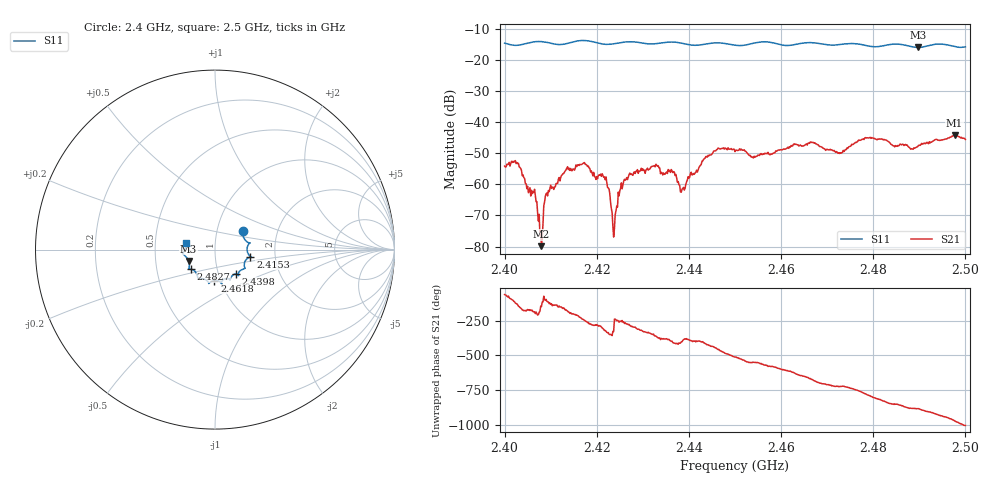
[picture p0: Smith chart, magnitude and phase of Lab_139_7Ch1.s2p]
# Hz S RI R 50
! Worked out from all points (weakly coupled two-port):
!   601 points, 2.4 GHz to 2.5 GHz, reference 50 ohm
!   highest |S21| = -44.10 dB at 2.4977 GHz (marker M1); lowest = -79.9 dB at 2.408 GHz (marker M2)
!   lowest |S11| = -15.9 dB at 2.4897 GHz (marker M3), VSWR 1.38, Z = 36.9 - j4.8 ohm
!   |S11| at or under -10 dB: start of sweep to end of sweep
!   S12 and S22 are empty: the file has one direction only
!   S11 on the Smith chart (normalised r, x): 2.4 GHz: 1.33, +0.29; 2.4153 GHz: 1.48, -0.12; 2.4398 GHz: 1.21, -0.34; 2.4618 GHz: 0.94, -0.33; 2.4827 GHz: 0.75, -0.17; 2.5 GHz: 0.72, +0.06
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2.4e9  0.1552 0.1063  0.000938 -0.00174  0 0  0 0
2.403167e9  0.1655 0.0569  -0.00165 -0.000984  0 0  0 0
2.4065e9  0.1941 0.0376  -0.000833 7.84e-05  0 0  0 0
2.408e9  0.1954 0.038  -8.61e-05 -5.37e-05  0 0  0 0
2.4095e9  0.1885 0.0316  -0.000345 -0.000718  0 0  0 0
2.415333e9  0.1968 -0.039  -0.00166 0.000782  0 0  0 0
2.416667e9  0.2028 -0.0431  -0.00124 0.00168  0 0  0 0
2.421667e9  0.17 -0.0607  0.00102 0.000837  0 0  0 0
2.423667e9  0.1627 -0.0846  0.000121 7.54e-05  0 0  0 0
2.4265e9  0.168 -0.1031  7.98e-05 0.00129  0 0  0 0
2.433333e9  0.1299 -0.1339  0.00196 -0.000432  0 0  0 0
2.438667e9  0.1247 -0.1379  0.000736 -0.000453  0 0  0 0
2.439833e9  0.1154 -0.136  0.00121 -0.000565  0 0  0 0
2.445833e9  0.0838 -0.1705  0.000279 -0.00348  0 0  0 0
2.45e9  0.065 -0.1617  -0.00298 -0.00158  0 0  0 0
2.461833e9  -0.00312 -0.1729  -0.00112 0.00388  0 0  0 0
2.466667e9  -0.0347 -0.1882  0.00322 0.00346  0 0  0 0
2.482667e9  -0.135 -0.1089  -0.00206 -0.00476  0 0  0 0
2.483333e9  -0.1402 -0.1085  -0.00267 -0.00408  0 0  0 0
2.489667e9  -0.1472 -0.0634  -0.00388 -0.00124  0 0  0 0
2.497667e9  -0.1654 0.000817  -0.00216 0.00585  0 0  0 0
2.5e9  -0.1592 0.0387  0.00126 0.00514  0 0  0 0
